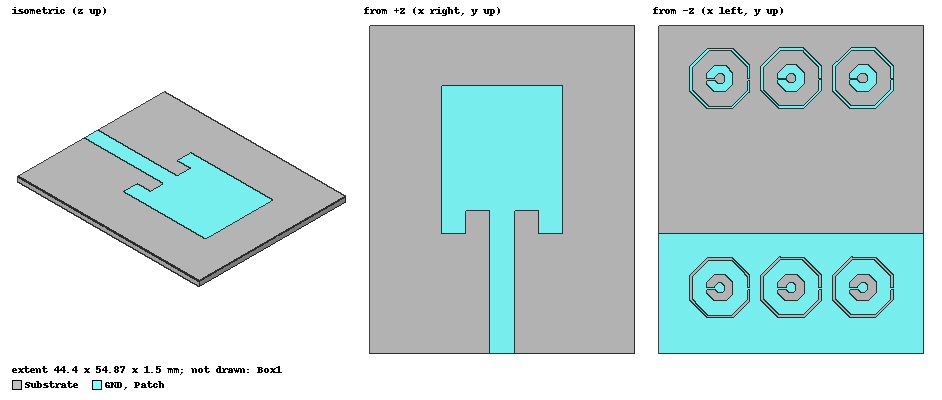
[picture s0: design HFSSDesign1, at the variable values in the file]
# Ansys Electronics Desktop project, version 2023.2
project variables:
  $f = 2.45GHz
  $epsilon_r = 2.2
  $h = 1.5mm
  $Wp = 20.4mm
  $Lp = 24.87mm
  $Wg = $Wp + 16*$h
  $Lg = $Lp + $Lf + $z
  $Wf = 4.1mm
  $g = 4mm
  $d = 4mm
  $Lf = 20mm
  $z = 10mm
  $x_centro_afuera = 2.223176555mm
  $x_centro_interior = $x_centro_afuera-$r_chica
  $Factor_gap = 0.08
  $C_centro_afuera = 5.07mm
  $C_centro_interior = $C_centro_afuera-$r_grande
  $ras = 1.05
  $r_grande = 0.45mm
  $r_chica = 1.41070932mm
  $dist_feed = ((3.0e8)/(sqrt($epsilon_r)))/($f*15)
  $CC = ($C_centro_afuera)*$ras + $dist_feed
  $larguito = 20mm
  $deltay = -35mm
  $deltay_superior = 0mm
  $deltax_superior = 0mm
  $espaciado_arriba = 0mm
  $deltax = 0mm
  $espaciado = 0mm
  $offset = 0mm
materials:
  vacuum: permittivity=1
  Rogers RO3003 (tm): permittivity=3 dielectric_loss_tangent=0.0013
  Rogers RT/duroid 5880 (tm): permittivity=2.2 dielectric_loss_tangent=0.0009
  air: permittivity=1.0006 permeability=1.0000004

design HFSSDesign1 (HFSS, HFSS Terminal Network, model units mm)
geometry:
  GND = rectangle(corner=(-$Wg/2, -$Lg/2, 0mm), x_size=$Wg, y_size=$larguito)
  Substrate [Rogers RT/duroid 5880 (tm)] = box(corner=(-$Wg/2, -$Lg/2, 0mm), size=($Wg, $Lg, $h))
  Patch = rectangle(corner=(-$Wp/2, -$Lg/2 +$Lf, $h), x_size=$Wp, y_size=$Lp)
  Left_notch = rectangle(corner=(-$g-$Wf/2, -$Lg/2 + $Lf, $h), x_size=$g, y_size=$d)
  Right_notch = rectangle(corner=($Wf/2, -$Lg/2+$Lf, $h), x_size=$g, y_size=$d)
  Feed = rectangle(corner=(-$Wf/2, -$Lg/2, $h), x_size=$Wf, y_size=$d + $Lf)
  Patch.subtract(Left_notch)
  Patch.subtract(Right_notch)
  Port = rectangle(corner=(-$Wf/2, -$Lg/2, 0mm), z_size=$h, x_size=$Wf)
  Patch.unite(Feed)
  Box1 [air] = box(corner=(-150mm, -150mm, -150mm), size=(300mm, 300mm, 300mm))
  Polygon17 = regular_polygon(axis=Z, centre=($Wp/2 + $dist_feed, $Lp/2, 0), first_corner=($Wp/2 + $dist_feed+$C_centro_afuera, $Lp/2+$C_centro_afuera*0.4116933, 0), sides=8)
  Polygon19 = regular_polygon(axis=Z, centre=($Wp/2 + $dist_feed, $Lp/2, 0), first_corner=($Wp/2 + $dist_feed+$C_centro_interior, $Lp/2+$C_centro_interior*0.4116933, 0), sides=8)
  Rectangle9 = rectangle(corner=($Wp/2 + $dist_feed + $C_centro_interior -0.04e-3, $Lp/2+ $offset, 0), x_size=$r_grande*1.1, y_size=-2*$C_centro_interior*0.4116933*$Factor_gap)
  Polygon17.subtract(Polygon19, Rectangle9)
  Polygon18 = regular_polygon(axis=Z, centre=($Wp/2 + $dist_feed, $Lp/2, 0), first_corner=($Wp/2 + $dist_feed+$x_centro_afuera, $Lp/2+$x_centro_afuera*0.4116933, 0), sides=8)
  Polygon20 = regular_polygon(axis=Z, centre=($Wp/2 + $dist_feed, $Lp/2, 0), first_corner=($Wp/2 + $dist_feed+$x_centro_interior, $Lp/2+$x_centro_interior*0.4116933, 0), sides=8)
  Rectangle10 = rectangle(corner=($Wp/2 + $dist_feed -$x_centro_afuera, $Lp/2 + $offset, 0), x_size=$r_chica*1.1, y_size=-2*$C_centro_interior*0.4116933*$Factor_gap)
  Polygon18.subtract(Polygon20, Rectangle10)
  [Polygon17, Polygon18].mirror(point=(0mm, 0mm, 0mm), normal=(-1mm, 0mm, 0mm))
  [Polygon17, Polygon18].move(0mm, 8mm, 0mm)
  [Polygon17, Polygon18].move(30mm, -2mm, 0mm)
  Polygon17_2 = Polygon17.duplicate_along_line(step=(-12mm, 0mm, 0mm), total=2)
  Polygon18_2 = Polygon18.duplicate_along_line(step=(-12mm, 0mm, 0mm), total=2)
  [Polygon18_2, Polygon17_2, Polygon18, Polygon17].move(-2.3668017mm, 0.14001052mm, 0mm)
  Polygon18_2_1 = Polygon18_2.duplicate_along_line(step=(-11.934917mm, 0.063636854mm, 0mm), total=2)
  Polygon18_2.delete()
  Polygon17_2_1 = Polygon17_2.duplicate_along_line(step=(-11.934917mm, 0.063636854mm, 0mm), total=2)
  Polygon17_2.delete()
  Polygon18_3 = Polygon18.duplicate_along_line(step=(-11.934917mm, 0.063636854mm, 0mm), total=2)
  Polygon17_3 = Polygon17.duplicate_along_line(step=(-11.934917mm, 0.063636854mm, 0mm), total=2)
  Polygon17_2_1_1 = Polygon17_2_1.duplicate_along_line(step=(0mm, $deltay, 0mm), total=2)
  Polygon17_3_1 = Polygon17_3.duplicate_along_line(step=(0mm, $deltay, 0mm), total=2)
  Polygon18_2_1_1 = Polygon18_2_1.duplicate_along_line(step=(0mm, $deltay, 0mm), total=2)
  Polygon18_3_1 = Polygon18_3.duplicate_along_line(step=(0mm, $deltay, 0mm), total=2)
  Polygon17_4 = Polygon17.duplicate_along_line(step=(0mm, $deltay, 0mm), total=2)
  Polygon18_4 = Polygon18.duplicate_along_line(step=(0mm, $deltay, 0mm), total=2)
  [Polygon17, Polygon18, Polygon17_2_1, Polygon17_3, Polygon18_2_1, Polygon18_3].move($deltax_superior, $deltay_superior, 0mm)
  [Polygon17_2_1, Polygon18_2_1].move(-$espaciado_arriba, 0mm, 0mm)
  [Polygon17, Polygon18].move($espaciado_arriba, 0mm, 0mm)
  GND.unite(Polygon17_2_1, Polygon17_3, Polygon18_2_1, Polygon18_3, Polygon17, Polygon18)
  [Polygon17_2_1_1, Polygon17_3_1, Polygon17_4, Polygon18_2_1_1, Polygon18_3_1, Polygon18_4].move($deltax, 0mm, 0mm)
  [Polygon17_2_1_1, Polygon18_2_1_1].move(-$espaciado, 0mm, 0mm)
  [Polygon18_4, Polygon17_4].move($espaciado, 0mm, 0mm)
  GND.subtract(Polygon17_2_1_1, Polygon17_3_1, Polygon17_4, Polygon18_2_1_1, Polygon18_3_1, Polygon18_4)
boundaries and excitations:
  PerfE1: Perfect E Objects=Patch
  PerfE2: Perfect E Objects=GND
  Rad1: Radiation Objects=Box1
  1: Lumped Port Objects=Port LumpedPortType=Modal Modes{Mode1{IntLine{(0, -27.435, 0) -> (0, -27.435, 1.5)} CharImp=Zpi RenormImp=50ohm}} Impedance=50ohm
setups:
  Setup1: HfssDriven Frequency=2.45GHz MaxDeltaS=0.02 MaximumPasses=20 MinimumPasses=1 MinimumConvergedPasses=1 PercentRefinement=30 BasisOrder=1 PortAccuracy=2 DrivenSolverType="Direct Solver"
    sweep Sweep: 2GHz to 7GHz step 0.01GHz; Type=Fast SaveFields
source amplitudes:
  1:1: 1V 0deg
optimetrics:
  ParametricSetup1: Parametric disabled Sim._Setups=[Setup1]
    sweep $g: LIN 2mm 4mm 0.5mm
    sweep $Lf: LIN 10mm 20mm 1mm
    sweep $d: LIN 4mm 6.3mm 0.5mm
  ParametricSetup2: Parametric Sim._Setups=[Setup1]
    sweep $offset: LIN 0mm 0.2mm 0.01mm
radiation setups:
  Infinite Sphere1: Infinite Sphere Theta=0deg..180deg step 2deg Phi=0deg..360deg step 2deg
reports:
  Terminal S Parameter Plot 1: dB(St(1,1)) vs Freq on Setup1 : Sweep [$larguito=all $deltay=all]
  Gain Plot 2: dB(GainTotal) vs Phi, Theta on Setup1 : LastAdaptive, Infinite Sphere1 [Freq=2.45GHz]
  Gain Plot 3: dB(GainTotal) vs Phi, Theta on Setup1 : LastAdaptive, Infinite Sphere1 [Freq=2.45GHz]
  Gain Plot 4: dB(GainTotal) vs Theta on Setup1 : LastAdaptive, Infinite Sphere1 [Phi=all Freq=2.45GHz]
  rE Plot 1: dB(rETotal) vs Theta on Setup1 : LastAdaptive, Infinite Sphere1 [Phi=all Freq=2.45GHz]
  Gain Plot 5: GainTotal vs Theta on Setup1 : LastAdaptive, Infinite Sphere1 [Phi=all Freq=2.45GHz]
  Terminal S Parameter Plot 2: dB(St(1,1)) vs Freq on Setup1 : Sweep [$g=all]
  Terminal S Parameter Plot 3: dB(St(1,1)) vs Freq on Setup1 : Sweep
  Terminal S Parameter Plot 4: dB(St(1,1)) vs Freq on Setup1 : Sweep
  Terminal S Parameter Plot 5: dB(St(1,1)) vs Freq on Setup1 : Sweep
  Terminal S Parameter Plot 6: dB(St(1,1)) vs Freq on Setup1 : Sweep [$offset=all]
